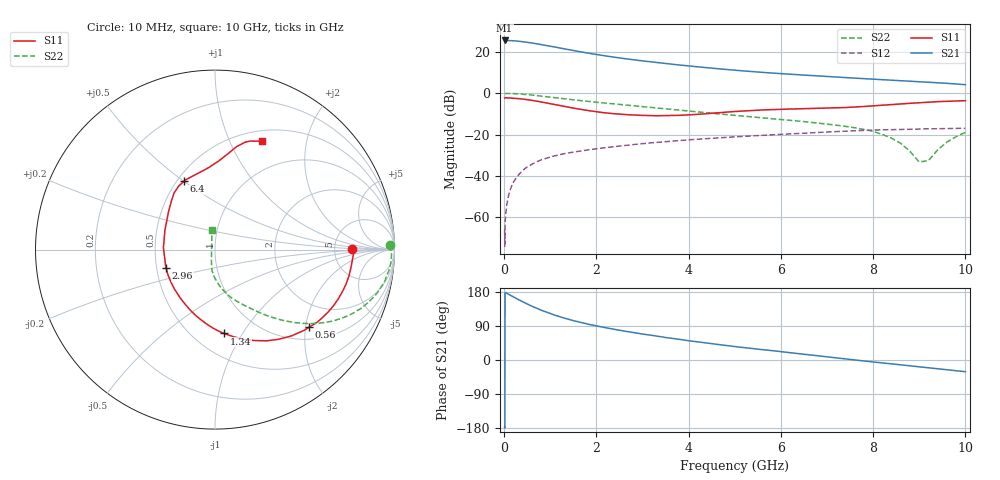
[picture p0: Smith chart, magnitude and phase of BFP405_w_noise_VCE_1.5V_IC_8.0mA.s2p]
! Infineon Technologies  Discrete & RF Semiconductors
! BFP405
! VCE =  1.5 V,  IC =  8.0 mA
! Common Emitter S-Parameters:  Jan 2016
# GHz  S  MA  R  50
!  f  S11  S21  S12  S22
! GHz  MAG  ANG  MAG  ANG  MAG  ANG  MAG  ANG
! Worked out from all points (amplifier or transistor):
!   233 points, 10 MHz to 10 GHz, reference 50 ohm
!   highest |S21| = 25.5 dB at 10 MHz (marker M1)
!   |S21| within 3 dB of that: start of sweep to 1.055 GHz
!   unconditionally stable (mu >= 1): start of sweep to 18.18 MHz; 2.769 GHz to end of sweep
!   at 200 MHz: K = 0.13, MSG = 34.2 dB, |S12| = -43.1 dB
!   at 1.74 GHz: K = 0.72, MSG = 23.7 dB, |S12| = -27.7 dB
!   at 10 GHz: K = 1.42, MAG = 6.7 dB, |S12| = -17.0 dB
!   lowest NFmin = 1.48 dB at 900 MHz
!   S11 on the Smith chart (normalised r, x): 10 MHz: 7.44, +0.05; 560 MHz: 1.30, -2.09; 1.34 GHz: 0.70, -0.83; 2.96 GHz: 0.56, -0.13; 6.4 GHz: 0.54, +0.50; 10 GHz: 0.62, +1.33
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0.01  0.763 0.1  18.77 -177.5  0.0005 -46.1  0.974 1.4
0.015  0.7677 -0.7  18.73 -179.6  0.0002 43.6  0.9765 0.6
0.02  0.7725 -1.5  18.73 178.2  0.0007 89.2  0.9791 -0.1
0.085  0.7652 -6.3  18.65 174.1  0.003 89.3  0.9838 -2.7
0.24  0.749 -17.6  18.35 163.9  0.0082 81.6  0.968 -8.3
0.4  0.7199 -28.9  17.61 153.8  0.0134 76.7  0.9447 -13.5
0.56  0.6798 -39.5  16.59 144.4  0.0181 72.1  0.9099 -18.2
0.7  0.6423 -48.5  15.67 136.8  0.0218 68.6  0.8762 -22.0
0.9  0.5847 -60.3  14.32 126.9  0.0265 64.4  0.8256 -26.6
1.1  0.529 -71.4  13.01 118.3  0.0306 60.9  0.7769 -30.5
1.34  0.4696 -83.8  11.56 109.3  0.0349 57.8  0.7225 -34.4
1.68  0.4018 -100.5  9.869 98.5  0.0405 54.3  0.6557 -38.9
2.2  0.3331 -125.1  7.929 85.1  0.0482 50.4  0.5735 -44.3
2.96  0.2909 -159.5  6.094 69.3  0.0595 45.5  0.4784 -51.0
3.4  0.285 -178.1  5.349 61.4  0.0658 42.4  0.429 -54.8
4  0.2993 158.8  4.542 50.8  0.0744 38.3  0.3689 -60.3
5.1  0.3652 131.6  3.506 34.1  0.0892 30.5  0.2841 -71.1
6.4  0.4185 114.2  2.776 16.6  0.1066 21.3  0.2105 -81.7
6.8  0.4271 107.6  2.604 11.2  0.1121 18.2  0.189 -85.0
8.4  0.5299 83.3  2.046 -10.2  0.1313 3.9  0.0816 -103.8
9  0.5867 78.1  1.885 -17.8  0.136 -1.1  0.0216 -152.3
10  0.6577 66.6  1.6 -30.9  0.1415 -8.7  0.1127 99.8
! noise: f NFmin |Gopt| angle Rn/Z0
0.9  1.48  0.25  8  0.32
1.8  1.74  0.19  10  0.3
2.4  1.86  0.16  14  0.3
3  1.88  0.12  33  0.28
4  2.05  0.03  -6  0.27
5  2.41  0.06  -110  0.26
